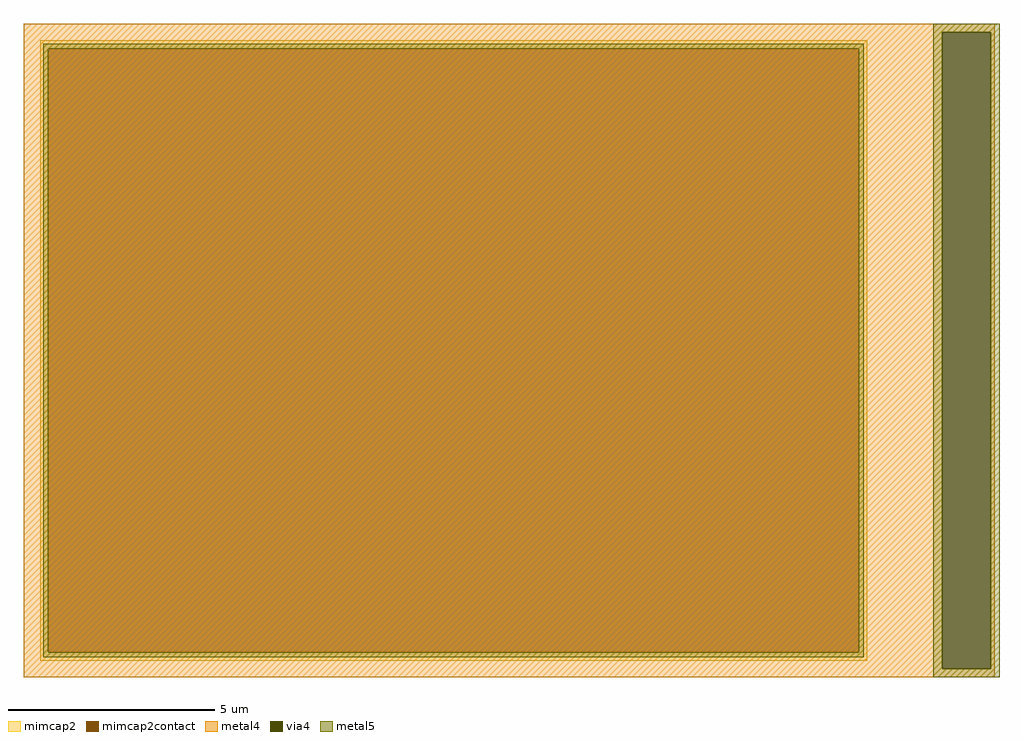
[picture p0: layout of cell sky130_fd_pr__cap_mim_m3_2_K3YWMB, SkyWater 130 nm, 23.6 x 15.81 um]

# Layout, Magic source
magic
tech sky130A
magscale 1 2
<< metal4 >>
rect -2349 1539 2349 1580
rect -2349 -1539 2093 1539
rect 2329 -1539 2349 1539
rect -2349 -1580 2349 -1539
<< via4 >>
rect 2093 -1539 2329 1539
<< mimcap2 >>
rect -2269 1460 1731 1500
rect -2269 -1460 -2229 1460
rect 1691 -1460 1731 1460
rect -2269 -1500 1731 -1460
<< mimcap2contact >>
rect -2229 -1460 1691 1460
<< metal5 >>
rect 2051 1539 2371 1581
rect -2253 1460 1715 1484
rect -2253 -1460 -2229 1460
rect 1691 -1460 1715 1460
rect -2253 -1484 1715 -1460
rect 2051 -1539 2093 1539
rect 2329 -1539 2371 1539
rect 2051 -1581 2371 -1539
<< properties >>
string FIXED_BBOX -2349 -1580 1811 1580
string gencell sky130_fd_pr__cap_mim_m3_2
string library sky130
string parameters w 20 l 15.0 val 613.3 carea 2.00 cperi 0.19 nx 1 ny 1 dummy 0 square 0 lmin 2.00 wmin 2.00 lmax 30.0 wmax 30.0 dc 0 bconnect 1 tconnect 1 ccov 100
<< end >>
